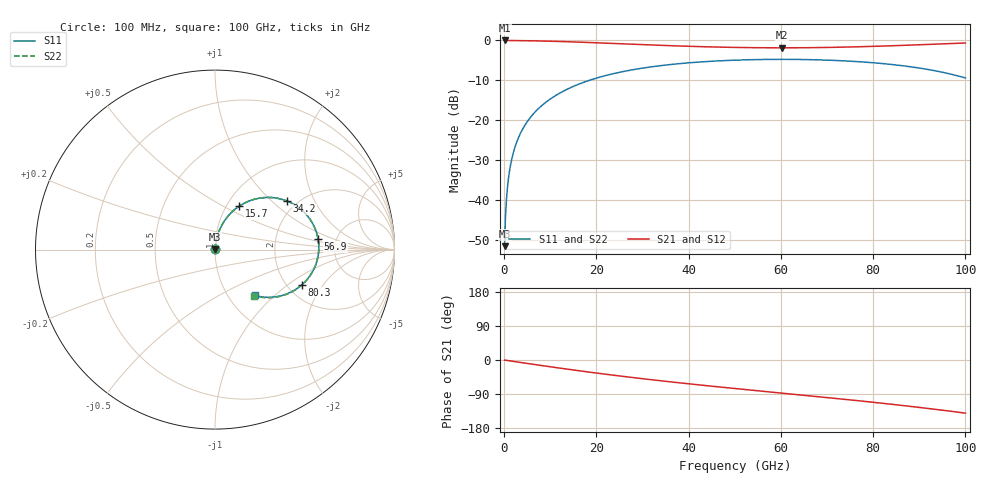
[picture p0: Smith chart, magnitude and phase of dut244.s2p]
! Touchstone file exported from HFSS 2026.1.0
!  File:  C:/ffzhzh/LocalFiles/Ansys_Project_Files/temp_train_RDL_244_1783501396_55944.aedt
!  Generated:  05:04:32 PM Jul  8, 2026
!  Design:  RDL
!  Project:  temp_train_RDL_244_1783501396_55944
! Variables:
!  h_bsmrdl = 2um
!  h_ox = 20um
!  h_rdl = 5um
!  h_sub = 80um
!  h_tmrdl = 4.87um
!  h_tsv = 80um
!  h_via = 3um
!  l_bsmrdl = 300um
!  l_sub = 871.84um
!  l_tmrdl = 471.84um
!  m_sub = 200um
!  pitch = 58.74um
!  r_tsv = 6um
!  s_tmrdl = 10um
!  w_bsmrdl = 18um
!  w_sub = 500um
!  w_tmrdl = 24.38um
!  x_tsv_center1 = 484.03um
!  x_tsv_center2 = 802.03um
!  x_tsv_center3 = 1298.25um
!  x_tsv_center4 = 1616.25um
!  x_tsv_center5 = 2112.47um
!  x_tsv_center6 = 2430.47um
# GHz S MA R 50.000000
! Terminal data exported
! Port[1] = TM_RDL1_1_T1
! Port[2] = TM_RDL1_1_T2
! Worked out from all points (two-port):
!   1000 points, 100 MHz to 100 GHz, reference 50 ohm
!   highest |S21| = -0.01 dB at 100 MHz (marker M1); lowest = -1.9 dB at 60.2 GHz (marker M2)
!   |S21| within 3 dB of the highest: start of sweep to end of sweep
!   lowest |S11| = -51.6 dB at 100 MHz (marker M3), VSWR 1.01, Z = 50.2 + j0.211 ohm
!   |S11| at or under -10 dB: start of sweep to 18.51 GHz
!   |S22| runs from -51.6 to -4.8 dB; largest |S21 - S12| = 1.6e-14
!   S11 on the Smith chart (normalised r, x): 100 MHz: 1.00, +0.00; 15.7 GHz: 1.14, +0.60; 34.2 GHz: 1.78, +1.26; 56.9 GHz: 3.60, +0.65; 80.3 GHz: 2.40, -1.29; 100 GHz: 1.32, -0.76
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0.1  0.00263 53.0  0.9984 -0.2  0.9984 -0.2  0.00263 53.0
! Gamma 0 0 0 0
! Port Impedance 50 0 50 0
0.8  0.01592 81.5  0.9979 -1.5  0.9979 -1.5  0.01592 81.5
1.3  0.02562 82.8  0.9975 -2.4  0.9975 -2.4  0.02562 82.8
1.7  0.03336 82.9  0.9972 -3.1  0.9972 -3.1  0.03336 82.9
2.3  0.0449 82.5  0.9964 -4.2  0.9964 -4.2  0.0449 82.5
3.7  0.07144 80.5  0.9941 -6.8  0.9941 -6.8  0.07144 80.5
5.7  0.1084 77.3  0.9897 -10.4  0.9897 -10.4  0.1084 77.3
8.3  0.1548 73.1  0.9826 -14.9  0.9826 -14.9  0.1548 73.1
11.6  0.2109 67.6  0.9711 -20.6  0.9711 -20.6  0.2109 67.6
15.7  0.2756 61.0  0.954 -27.5  0.954 -27.5  0.2756 61.0
16.8  0.2919 59.2  0.949 -29.3  0.949 -29.3  0.2919 59.2
24.2  0.3888 47.9  0.9131 -40.9  0.9131 -40.9  0.3888 47.9
33.4  0.4785 34.9  0.8695 -54.1  0.8695 -54.1  0.4785 34.9
34.2  0.4848 33.9  0.8661 -55.2  0.8661 -55.2  0.4848 33.9
50.1  0.5653 14.0  0.8164 -75.4  0.8164 -75.4  0.5653 14.0
56.9  0.5773 6.0  0.8081 -83.5  0.8081 -83.5  0.5773 6.0
60.2  0.5786 2.2  0.8072 -87.4  0.8072 -87.4  0.5786 2.1
66.7  0.573 -5.4  0.811 -95.1  0.811 -95.1  0.573 -5.5
80.3  0.5228 -21.9  0.8427 -111.9  0.8427 -111.9  0.5228 -22.1
83.4  0.5033 -25.9  0.854 -116.0  0.854 -116.0  0.5032 -26.1
92.1  0.4299 -37.7  0.8912 -128.1  0.8912 -128.1  0.4298 -38.1
100  0.3383 -49.0  0.9277 -140.3  0.9277 -140.3  0.3382 -49.8
